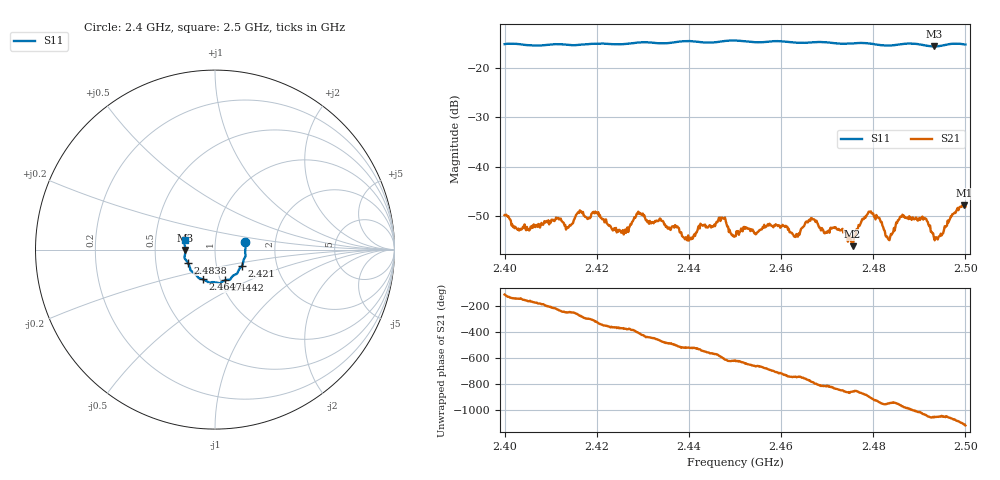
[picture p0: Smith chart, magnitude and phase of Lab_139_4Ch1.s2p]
# Hz S RI R 50
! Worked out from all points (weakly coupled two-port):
!   601 points, 2.4 GHz to 2.5 GHz, reference 50 ohm
!   highest |S21| = -47.81 dB at 2.4997 GHz (marker M1); lowest = -56.1 dB at 2.4755 GHz (marker M2)
!   lowest |S11| = -15.7 dB at 2.4932 GHz (marker M3), VSWR 1.39, Z = 35.8 - j0.135 ohm
!   |S11| at or under -10 dB: start of sweep to end of sweep
!   S12 and S22 are empty: the file has one direction only
!   S11 on the Smith chart (normalised r, x): 2.4 GHz: 1.40, +0.12; 2.421 GHz: 1.33, -0.24; 2.4442 GHz: 1.05, -0.37; 2.4647 GHz: 0.83, -0.28; 2.4838 GHz: 0.73, -0.11; 2.5 GHz: 0.71, +0.08
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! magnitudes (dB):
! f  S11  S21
! 2.4 GHz  -15.2  -49.8
! 2.405 GHz  -15.4  -52.8
! 2.4167 GHz  -15.3  -49.1
! 2.421 GHz  -15.1  -50.4
! 2.4258 GHz  -15.2  -53.8
! 2.4292 GHz  -14.9  -49.5
! 2.4333 GHz  -15.0  -51.1
! 2.4395 GHz  -14.6  -54.7
! 2.4442 GHz  -14.9  -52.3
! 2.4475 GHz  -14.6  -50.6
! 2.45 GHz  -14.5  -54.0
! 2.4647 GHz  -14.9  -52.3
! 2.4667 GHz  -14.8  -50.5
! 2.4755 GHz  -15.0  -56.1
! 2.4793 GHz  -15.1  -49.2
! 2.4833 GHz  -15.5  -54.8
! 2.4838 GHz  -15.5  -53.7
! 2.4863 GHz  -15.2  -49.8
! 2.4912 GHz  -15.4  -50.5
! 2.4932 GHz  -15.7  -54.4
! 2.4997 GHz  -15.2  -47.8
! 2.5 GHz  -15.3  -48.2
